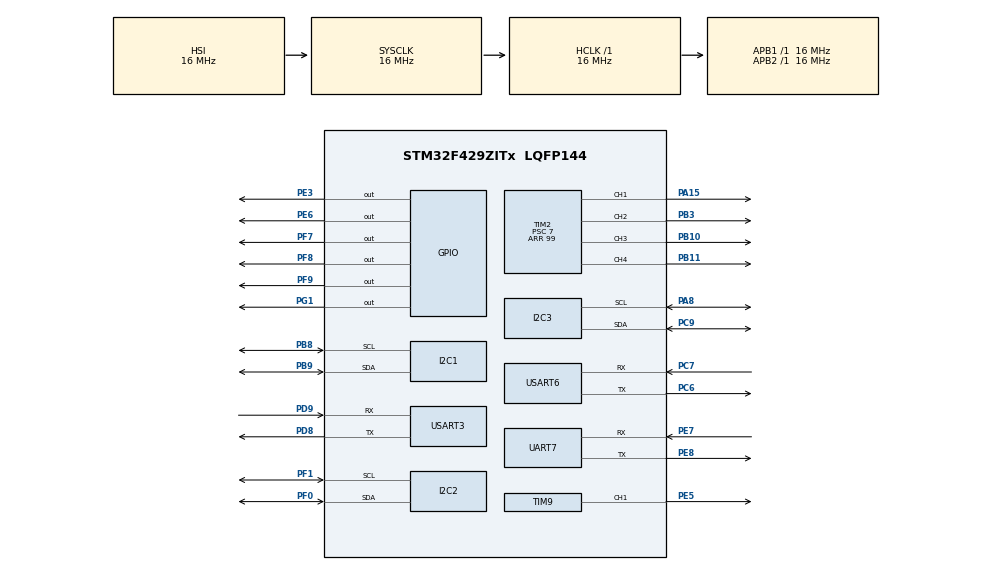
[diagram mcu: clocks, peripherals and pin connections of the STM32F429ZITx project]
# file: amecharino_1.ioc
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Mcu.Family=STM32F4
Mcu.Name=STM32F429ZITx
Mcu.Package=LQFP144
NVIC.PriorityGroup=NVIC_PRIORITYGROUP_4
NVIC.TIM3_IRQn=true\:0\:0\:false\:false\:true\:true\:true\:true
NVIC.UART7_IRQn=true\:0\:0\:false\:false\:true\:true\:true\:true
NVIC.USART3_IRQn=true\:0\:0\:false\:false\:true\:true\:true\:true
NVIC.USART6_IRQn=true\:0\:0\:false\:false\:true\:true\:true\:true
PA15.Signal=S_TIM2_CH1_ETR
PA8.Mode=I2C
PA8.Signal=I2C3_SCL
PB10.Signal=S_TIM2_CH3
PB11.Signal=S_TIM2_CH4
PB3.Signal=S_TIM2_CH2
PB8.Mode=I2C
PB8.Signal=I2C1_SCL
PB9.Mode=I2C
PB9.Signal=I2C1_SDA
PC6.Mode=Asynchronous
PC6.Signal=USART6_TX
PC7.Mode=Asynchronous
PC7.Signal=USART6_RX
PC9.Mode=I2C
PC9.Signal=I2C3_SDA
PD8.Mode=Asynchronous
PD8.Signal=USART3_TX
PD9.Mode=Asynchronous
PD9.Signal=USART3_RX
PE3.Signal=GPIO_Output
PE5.Signal=S_TIM9_CH1
PE6.Signal=GPIO_Output
PE7.Mode=Asynchronous
PE7.Signal=UART7_RX
PE8.Mode=Asynchronous
PE8.Signal=UART7_TX
PF0.Mode=I2C
PF0.Signal=I2C2_SDA
PF1.Mode=I2C
PF1.Signal=I2C2_SCL
PF7.Signal=GPIO_Output
PF8.Signal=GPIO_Output
PF9.Signal=GPIO_Output
PG1.Signal=GPIO_Output
ProjectManager.HeapSize=0x200
ProjectManager.StackSize=0x400
ProjectManager.TargetToolchain=STM32CubeIDE
RCC.AHBFreq_Value=16000000
RCC.APB1Freq_Value=16000000
RCC.APB2Freq_Value=16000000
RCC.CortexFreq_Value=16000000
RCC.HSE_VALUE=25000000
RCC.HSI_VALUE=16000000
RCC.LSE_VALUE=32768
RCC.SYSCLKFreq_VALUE=16000000
RCC.VCOOutputFreq_Value=192000000
SH.S_TIM2_CH1_ETR.0=TIM2_CH1,PWM Generation1 CH1
SH.S_TIM2_CH2.0=TIM2_CH2,PWM Generation2 CH2
SH.S_TIM2_CH3.0=TIM2_CH3,PWM Generation3 CH3
SH.S_TIM2_CH4.0=TIM2_CH4,PWM Generation4 CH4
SH.S_TIM9_CH1.0=TIM9_CH1,PWM Generation1 CH1
TIM2.Channel-PWM\ Generation1\ CH1=TIM_CHANNEL_1
TIM2.Channel-PWM\ Generation2\ CH2=TIM_CHANNEL_2
TIM2.Channel-PWM\ Generation3\ CH3=TIM_CHANNEL_3
TIM2.Channel-PWM\ Generation4\ CH4=TIM_CHANNEL_4
TIM2.Period=99
TIM2.Prescaler=7
TIM3.Prescaler=1599
TIM4.Prescaler=1599
TIM9.Channel-PWM\ Generation1\ CH1=TIM_CHANNEL_1
TIM9.Period=49
TIM9.Prescaler=15
UART7.VirtualMode=Asynchronous
USART3.VirtualMode=VM_ASYNC
USART6.VirtualMode=VM_ASYNC
VP_TIM2_VS_ClockSourceINT.Mode=Internal
VP_TIM3_VS_ClockSourceINT.Mode=Internal
VP_TIM4_VS_ClockSourceINT.Mode=Internal
board=custom

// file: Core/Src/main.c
/* USER CODE BEGIN Header */
/**
  ******************************************************************************
  * @file           : main.c
  * @brief          : Main program body
  ******************************************************************************
  * @attention
  *
  * Copyright (c) 2025 STMicroelectronics.
  * All rights reserved.
  *
  * This software is licensed under terms that can be found in the LICENSE file
  * in the root directory of this software component.
  * If no LICENSE file comes with this software, it is provided AS-IS.
  *
  ******************************************************************************
  */
/* USER CODE END Header */
#include "main.h"
#include "i2c.h"
#include "tim.h"
#include "usart.h"
#include "gpio.h"

/* USER CODE BEGIN Includes */
#include "motor.h"
#include "string.h"
#include "stdio.h"
#include "VL53L0X.h"
#include "pca9685.h"
#include "vl6180x.h"
#include <math.h>
/* USER CODE END Includes */

/* USER CODE BEGIN PV */
uint8_t  serialBuf[100];
char     rx_buffer[32];
uint8_t  rx_index = 0;
uint8_t  rx_data_3;
uint8_t  rx_data_6;
uint8_t  Lifting_check = 0;
uint8_t  servo_close   = 0;
uint8_t  servo_open    = 0;
uint8_t  forward_flag  = 0;
uint8_t  backward_flag = 0;
uint8_t  right_turn_flag = 0;
uint8_t  left_turn_flag  = 0;
uint8_t  distance;
uint8_t  distancestr;
uint8_t  start = 0;
uint8_t ready = 0;
uint8_t sent_l = 0;
float    vx_value = 0.0f;

volatile uint8_t Linear_flag      = 0;
volatile uint8_t Linear_num       = 0;
volatile uint8_t Linear_back_flag = 0;
volatile uint8_t Linear_back_num  = 0;

/* USER CODE END PV */

void SystemClock_Config(void);

int main(void)
{

  /* MCU Configuration--------------------------------------------------------*/

  /* Reset of all peripherals, Initializes the Flash interface and the Systick. */
  HAL_Init();

  /* Configure the system clock */
  SystemClock_Config();

  /* Initialize all configured peripherals */
  MX_GPIO_Init();
  MX_I2C1_Init();
  MX_I2C2_Init();
  MX_I2C3_Init();
  MX_TIM2_Init();
  MX_TIM3_Init();
  MX_TIM4_Init();
  MX_TIM9_Init();
  MX_UART7_Init();
  MX_USART3_UART_Init();
  MX_USART6_UART_Init();
  /* USER CODE BEGIN 2 */

  // MPU6050_Initialization();
  Motor_Init();

  // 아르코 마커러 부터 인덱스 값 받아오는거임
  HAL_UART_Receive_IT(&huart3, &rx_data_3, 1);
  HAL_UART_Receive_IT(&huart6, &rx_data_6, 1);
  HAL_TIM_PWM_Start(&htim9, TIM_CHANNEL_1);

  PCA9685_Init(50); // 50Hz
	PCA9685_SetServoAngle(0, 123); // 줄어들기
	PCA9685_SetServoAngle(1, 125); // 늘어나기
	PCA9685_SetServoAngle(2, 110); // 늘어나기
	PCA9685_SetServoAngle(3, 115); // 줄어들기

  VL6180X_Init();

  HAL_Delay(300);

  char msgBuffer[52];
  for (uint8_t i = 0; i < 52; i++) {
    msgBuffer[i] = ' ';
  }

  // Initialise the VL53L0X
  statInfo_t_VL53L0X distanceStr;
  initVL53L0X(1, &hi2c2);

  // Configure the sensor for high accuracy and speed in 20 cm.
  startContinuous(20);

  /* USER CODE END 2 */

  /* Infinite loop */
  /* USER CODE BEGIN WHILE */
  while (1) {
//      distancestr = readRangeSingleMillimeters(&distanceStr);
//      sprintf(msgBuffer, "%d\n\r", distancestr);
//      HAL_UART_Transmit(&huart3, (uint8_t*)msgBuffer, strlen(msgBuffer), HAL_MAX_DELAY);
//      HAL_Delay(20);
    // mecanum_drive(0.0f, 0.0f, 20.0f);

    if (forward_flag == 1) {
      if (vx_value > -50.0f) {
        vx_value -= 1.0f;
        if (vx_value < -50.0f) {
          forward_flag = 0;
          vx_value     = -50.0f;
        }
      }
      mecanum_drive(vx_value, 0.0f, 0.0f); // 속도 유지 두번째 -방향 = left turn
      HAL_Delay(20);                       // 부드럽게 올리기 위해 딜레이

    } else if (backward_flag == 1) {
      if (vx_value < +50.0f) {
        vx_value += 1.0f;
        if (vx_value > +50.0f) {
          backward_flag = 0;
          vx_value      = +50.0f;
        }
      }
      mecanum_drive(vx_value, 0.0f, 0.0f); // 속도 유지
      HAL_Delay(20);                       // 부드럽게 올리기 위해 딜레이

    } else if (left_turn_flag == 1) {
      if (vx_value < -10.0f) {
        vx_value += 1.0f; // -50 → -10 으로 점점 증가 (감속)
        if (vx_value > -10.0f) {
          vx_value       = -10.0f; // 최소 속도로 고정
          left_turn_flag = 0;      // 감속 동작 종료
        }
      }
      mecanum_drive(0.0f, vx_value, 0.0f); // -방향 = Left turn
      if (Lifting_check == 0) {
        HAL_Delay(170); // 부드럽게 감속
      } else {
        HAL_Delay(350);
      }

    } else if (right_turn_flag == 1) {
      if (vx_value > 10.0f) {
        vx_value -= 1.0f; // -50 → -10 으로 점점 증가 (감속)
        if (vx_value < 10.0f) {
          vx_value        = 10.0f; // 최소 속도로 고정
          right_turn_flag = 0;     // 감속 동작 종료
        }
      }
      mecanum_drive(0.0f, vx_value, 0.0f); // -방향 = Left turn
      if (Lifting_check == 0) {
        HAL_Delay(170); // 부드럽게 감속
      } else {
        HAL_Delay(350);
      }

    } else if (Linear_flag == 1) {
    	if(sent_l == 0)
    	{
		  sprintf((char*)serialBuf, "l");  // L
		  HAL_UART_Transmit(&huart3, serialBuf, strlen((char*)serialBuf), HAL_MAX_DELAY);
		  sent_l = 1;
    	}

      Stop();
      Linear_Forward();

      distance    = VL6180X_ReadRange();
      distancestr = readRangeSingleMillimeters(&distanceStr);
      if (distancestr > 130) {   // 20cm 이상 멀어지면 준비 상태
          ready = 1;
      }
      HAL_Delay(20);

      if (ready && distancestr < 180) {
    	ready = 0;
        Stop();
        Linear_Stop();

        sprintf((char*)serialBuf, "9");
        HAL_UART_Transmit(&huart6, serialBuf, strlen((char*)serialBuf), HAL_MAX_DELAY);

        for (int i = 0; i <= 102; i++) {
          PCA9685_SetServoAngle(0, 120 - i); // 줄어들기
          PCA9685_SetServoAngle(1, 125 + i); // 늘어나기
          PCA9685_SetServoAngle(2, 110 + i); // 늘어나기
          PCA9685_SetServoAngle(3, 113 - i); // 줄어들기
          HAL_Delay(9);
        }
        servo_open = 0;

        sprintf((char*)serialBuf, "a\r\n");
        HAL_UART_Transmit(&huart3, serialBuf, strlen((char*)serialBuf), HAL_MAX_DELAY);
        HAL_Delay(20);

        sprintf((char*)serialBuf, "%d\r\n", distance);
        HAL_UART_Transmit(&huart3, serialBuf, strlen((char*)serialBuf), HAL_MAX_DELAY);

        Lifting_check = 1;
        Linear_flag   = 0;
        sent_l = 0;
      }

    } else if (Linear_back_flag == 1) {
      Linear_Backward();

      distance = VL6180X_ReadRange();
      HAL_Delay(20);

      if (distance < 15) {
        Linear_num++;
        if (Linear_num >= 3) {
          Stop();        // 모터 정지 함수
          Linear_Stop(); // 리니어모터 정지 함수 (필요 시)

          sprintf(msgBuffer, "c");
          HAL_UART_Transmit(&huart3, (uint8_t*)msgBuffer, strlen(msgBuffer), HAL_MAX_DELAY);
          HAL_Delay(20);

          sprintf(msgBuffer, "%d", distance);
          HAL_UART_Transmit(&huart3, (uint8_t*)msgBuffer, strlen(msgBuffer), HAL_MAX_DELAY);

          Linear_num       = 0; // 한 번 멈춘 후 다시 카운트 시작
          Linear_back_flag = 0;
          Lifting_check    = 0;
        }
      }

    } else if (servo_close == 1) {
      for (int i = 0; i <= 102; i++) {
        PCA9685_SetServoAngle(0,  18 + i); // 줄어들기
        PCA9685_SetServoAngle(1, 227 - i); // 늘어나기
        PCA9685_SetServoAngle(2, 212 - i); // 늘어나기
        PCA9685_SetServoAngle(3,  11 + i); // 줄어들기
        HAL_Delay(10);
      }

      HAL_Delay(1000);
      servo_close      = 0;
      Linear_back_flag = 1;

    } else if (servo_open == 1) {
      for (int i = 0; i <= 102; i++) {
        PCA9685_SetServoAngle(0, 120 - i); // 줄어들기
        PCA9685_SetServoAngle(1, 125 + i); // 늘어나기
        PCA9685_SetServoAngle(2, 110 + i); // 늘어나기
        PCA9685_SetServoAngle(3, 113 - i); // 줄어들기
        HAL_Delay(10);
      }
      servo_open = 0;
      HAL_Delay(1000);
    }

    // else if(ser == 1)
    // {
    //   for (int i = 0; i <= 70; i++) {
    //     PCA9685_SetServoAngle(0, -20 + i); // 줄어들기
    //     PCA9685_SetServoAngle(1, 195 - i); // 늘어나기
    //     PCA9685_SetServoAngle(2, 180 - i); // 늘어나기
    //     PCA9685_SetServoAngle(3,  45 + i); // 줄어들기
    //     HAL_Delay(10);
    //   }
    // }

    /* USER CODE END WHILE */

  }
}

void SystemClock_Config(void)
{
  RCC_OscInitTypeDef RCC_OscInitStruct = {0};
  RCC_ClkInitTypeDef RCC_ClkInitStruct = {0};

  /** Configure the main internal regulator output voltage
  */
  __HAL_RCC_PWR_CLK_ENABLE();
  __HAL_PWR_VOLTAGESCALING_CONFIG(PWR_REGULATOR_VOLTAGE_SCALE3);

  /** Initializes the RCC Oscillators according to the specified parameters
  * in the RCC_OscInitTypeDef structure.
  */
  RCC_OscInitStruct.OscillatorType = RCC_OSCILLATORTYPE_HSI;
  RCC_OscInitStruct.HSIState = RCC_HSI_ON;
  RCC_OscInitStruct.HSICalibrationValue = RCC_HSICALIBRATION_DEFAULT;
  RCC_OscInitStruct.PLL.PLLState = RCC_PLL_NONE;
  if (HAL_RCC_OscConfig(&RCC_OscInitStruct) != HAL_OK)
  {
    Error_Handler();
  }

  /** Initializes the CPU, AHB and APB buses clocks
  */
  RCC_ClkInitStruct.ClockType = RCC_CLOCKTYPE_HCLK|RCC_CLOCKTYPE_SYSCLK
                              |RCC_CLOCKTYPE_PCLK1|RCC_CLOCKTYPE_PCLK2;
  RCC_ClkInitStruct.SYSCLKSource = RCC_SYSCLKSOURCE_HSI;
  RCC_ClkInitStruct.AHBCLKDivider = RCC_SYSCLK_DIV1;
  RCC_ClkInitStruct.APB1CLKDivider = RCC_HCLK_DIV1;
  RCC_ClkInitStruct.APB2CLKDivider = RCC_HCLK_DIV1;

  if (HAL_RCC_ClockConfig(&RCC_ClkInitStruct, FLASH_LATENCY_0) != HAL_OK)
  {
    Error_Handler();
  }
}

/* USER CODE BEGIN 4 */
void HAL_UART_RxCpltCallback(UART_HandleTypeDef *huart) {
  if (huart->Instance == USART3) { // 잿슨나노 통신
    if (rx_data_3 == '1') {
      if (Lifting_check == 0) {
        backward_flag   = 0;
        forward_flag    = 1;
        right_turn_flag = 0;
        left_turn_flag  = 0;
        vx_value        = 0.0f;

      } else if (Lifting_check == 1) {
        forward_flag    = 0;
        backward_flag   = 0;
        right_turn_flag = 0;
        left_turn_flag  = 0;

        mecanum_drive(-50.0f, 0.0f, 0.0f);  // 속도 유지
      }

      sprintf((char *)serialBuf, "5");
      HAL_UART_Transmit(&huart6, serialBuf, strlen((char *)serialBuf), HAL_MAX_DELAY);

    } else if (rx_data_3 == '2') {
      if (Lifting_check == 0) {
        backward_flag   = 1;
        forward_flag    = 0;
        right_turn_flag = 0;
        left_turn_flag  = 0;
        vx_value        = 0.0f;

      } else if (Lifting_check == 1) {
        forward_flag    = 0;
        backward_flag   = 0;
        right_turn_flag = 0;
        left_turn_flag  = 0;

        mecanum_drive(50.0f, 0.0f, 0.0f);  // 속도 유지
      }

      sprintf((char *)serialBuf, "6");
      HAL_UART_Transmit(&huart6, serialBuf, strlen((char *)serialBuf), HAL_MAX_DELAY);

    } else if (rx_data_3 == '3') {
      sprintf((char*)serialBuf, "3");
      HAL_UART_Transmit(&huart6, serialBuf, strlen((char*)serialBuf), HAL_MAX_DELAY);

      if (Lifting_check == 1) {
		  	  HAL_GPIO_WritePin(GPIOF, GPIO_PIN_8,GPIO_PIN_RESET); //1 뒤쪽 우
    	  	HAL_GPIO_WritePin(GPIOF, GPIO_PIN_7,GPIO_PIN_RESET);// 2 뒤쪽 좌
    	  	HAL_GPIO_WritePin(GPIOF, GPIO_PIN_9,GPIO_PIN_RESET); //3 앞쪽 우
    	  	HAL_GPIO_WritePin(GPIOG, GPIO_PIN_1,GPIO_PIN_RESET); //4 앞쪽 좌
    	  	HAL_TIM_PWM_Start(&htim2, TIM_CHANNEL_1);
    	  	HAL_TIM_PWM_Start(&htim2, TIM_CHANNEL_2);
    	  	HAL_TIM_PWM_Start(&htim2, TIM_CHANNEL_3);
    	  	HAL_TIM_PWM_Start(&htim2, TIM_CHANNEL_4);
    	  	TIM2->CCR1 = 30;
    	  	TIM2->CCR2 = 30;
    	  	TIM2->CCR3 = 25;
    	  	TIM2->CCR4 = 25;

       } else {
         vx_value = -50.0f;
         left_turn_flag  = 1;
 		forward_flag    = 0;
 		backward_flag   = 0;
 		right_turn_flag = 0;
       }

      // Left_turn();

    } else if (rx_data_3 == '4') {
      sprintf((char*)serialBuf, "4");
      HAL_UART_Transmit(&huart6, serialBuf, strlen((char*)serialBuf), HAL_MAX_DELAY);

      if (Lifting_check == 1) {
//	  mecanum_drive(0.0f, 70.0f, 0.0f);  // 속도 유지
    	  HAL_GPIO_WritePin(GPIOF, GPIO_PIN_8,GPIO_PIN_SET); //1 뒤쪽 우
        	  	HAL_GPIO_WritePin(GPIOF, GPIO_PIN_7,GPIO_PIN_SET);// 2 뒤쪽 좌
        	  	HAL_GPIO_WritePin(GPIOF, GPIO_PIN_9,GPIO_PIN_SET); //3 앞쪽 우
        	  	HAL_GPIO_WritePin(GPIOG, GPIO_PIN_1,GPIO_PIN_SET); //4 앞쪽 좌
        	  	HAL_TIM_PWM_Start(&htim2, TIM_CHANNEL_1);
        	  	HAL_TIM_PWM_Start(&htim2, TIM_CHANNEL_2);
        	  	HAL_TIM_PWM_Start(&htim2, TIM_CHANNEL_3);
        	  	HAL_TIM_PWM_Start(&htim2, TIM_CHANNEL_4);
        	  	TIM2->CCR1 = 25;
        	  	TIM2->CCR2 = 25;
        	  	TIM2->CCR3 = 30;
        	  	TIM2->CCR4 = 30;

      } else {
        vx_value = 50.0f;
        left_turn_flag  = 0;
		forward_flag    = 0;
		backward_flag   = 0;
		right_turn_flag = 1;
      }

    } else if (rx_data_3 == '5') {
        forward_flag    = 0;
        backward_flag   = 0;
        right_turn_flag = 0;
        left_turn_flag  = 0;

        Left();

    } else if (rx_data_3 == '6') {
        forward_flag    = 0;
        backward_flag   = 0;
        right_turn_flag = 0;
        left_turn_flag  = 0;

        Right();

    } else if (rx_data_3 == '7') {
      backward_flag = 1;
      sprintf((char*)serialBuf, "1");
      HAL_UART_Transmit(&huart6, serialBuf, strlen((char*)serialBuf), HAL_MAX_DELAY);

    } else if (rx_data_3 == '8') { // 서보모터 닫기
      servo_close = 1;
      sprintf((char*)serialBuf, "8");
      HAL_UART_Transmit(&huart6, serialBuf, strlen((char*)serialBuf), HAL_MAX_DELAY);

    } else if (rx_data_3 == 'b') {
      Linear_Backward();

    } else if (rx_data_3 == 'f') {
      Linear_Forward();

    } else if (rx_data_3 == 's') {
      start = 1;

    } else if (rx_data_3 == '9') {
      Linear_back_flag = 0;
      Linear_flag      = 0;
      start            = 0;

      right_turn_flag = 0;
      forward_flag    = 0;
      backward_flag   = 0;
      left_turn_flag  = 0;
      vx_value        = 0.0f;

      Motor_Init();
      Linear_Stop();
      mecanum_drive(0.0f, 0.0f, 0.0f);
      Stop();

      sprintf((char*)serialBuf, "7");
      HAL_UART_Transmit(&huart6, serialBuf, strlen((char*)serialBuf), HAL_MAX_DELAY);

    }

    else if (rx_data_3 == 'z') {

          sprintf((char*)serialBuf, "s");
          HAL_UART_Transmit(&huart6, serialBuf, strlen((char*)serialBuf), HAL_MAX_DELAY);

        }
    else if (rx_data_3 == 'c') {

             sprintf((char*)serialBuf, "c");
             HAL_UART_Transmit(&huart6, serialBuf, strlen((char*)serialBuf), HAL_MAX_DELAY);

           }
    else if (rx_data_3 == 'x') {

          sprintf((char*)serialBuf, "f");
          HAL_UART_Transmit(&huart6, serialBuf, strlen((char*)serialBuf), HAL_MAX_DELAY);

        }

    HAL_UART_Receive_IT(&huart3, &rx_data_3, 1);

  } else if (huart->Instance == USART6) { // STM 통신
    if (rx_data_6 == '1') { // 리니어모터정지
      sprintf((char*)serialBuf, "1");
      HAL_UART_Transmit(&huart6, serialBuf, strlen((char*)serialBuf), HAL_MAX_DELAY);
      HAL_UART_Transmit(&huart3, serialBuf, strlen((char*)serialBuf), HAL_MAX_DELAY);

    } else if (rx_data_6 == '2') {
      sprintf((char*)serialBuf, "2");
      HAL_UART_Transmit(&huart6, serialBuf, strlen((char*)serialBuf), HAL_MAX_DELAY);
      HAL_UART_Transmit(&huart3, serialBuf, strlen((char*)serialBuf), HAL_MAX_DELAY);

    } else if (rx_data_6 == '3') {
      servo_close = 1;

    } else if (rx_data_6 == '4') {
      sprintf((char*)serialBuf, "s\n");
      HAL_UART_Transmit(&huart3, serialBuf, strlen((char*)serialBuf), HAL_MAX_DELAY);

      Linear_back_flag = 0;
      Linear_flag      = 0;
      right_turn_flag  = 0;
      forward_flag     = 0;
      backward_flag    = 0;
      left_turn_flag   = 0;
      vx_value         = 0.0f;

      Motor_Init();
      Linear_Stop();
      mecanum_drive(0.0f, 0.0f, 0.0f);
      Stop();

    } else if (rx_data_6 == '5') {
      right_turn_flag  = 0;
      forward_flag     = 0;
      backward_flag    = 0;
      left_turn_flag   = 0;

      if (Lifting_check == 1) {
        mecanum_drive(0.0f, -40.0f, 0.0f);
      } else {
    	mecanum_drive(0.0f, -30.0f, 0.0f);
      }

    } else if (rx_data_6 == '6') {
        right_turn_flag  = 0;
        forward_flag     = 0;
        backward_flag    = 0;
        left_turn_flag   = 0;

        if (Lifting_check == 1) {
          mecanum_drive(0.0f, 40.0f, 0.0f);
        } else {
      	mecanum_drive(0.0f, 30.0f, 0.0f);
        }

    } else if (rx_data_6 == '7') {
      right_turn_flag  = 0;
      forward_flag     = 0;
      backward_flag    = 0;
      left_turn_flag   = 0;
      mecanum_drive(-50.0f, 0.0f, 0.0f);

    } else if (rx_data_6 == '8') {
        right_turn_flag  = 0;
		forward_flag     = 0;
		backward_flag    = 0;
		left_turn_flag   = 0;
      mecanum_drive(50.0f, 0.0f, 0.0f);

    } else if (rx_data_6 == '9') { // 서보모터 닫기
      backward_flag = 0;
      forward_flag  = 0;
      Linear_flag   = 1;

    } else {
      HAL_GPIO_WritePin(GPIOE, GPIO_PIN_3, GPIO_PIN_RESET); // IN1
      HAL_GPIO_WritePin(GPIOE, GPIO_PIN_6, GPIO_PIN_RESET); // IN2
      Stop();
    }

    // 다음 수신 대기
    HAL_UART_Receive_IT(&huart6, &rx_data_6, 1);
  }
}
/* USER CODE END 4 */

void Error_Handler(void)
{
  __disable_irq();
  while (1) { }
}
